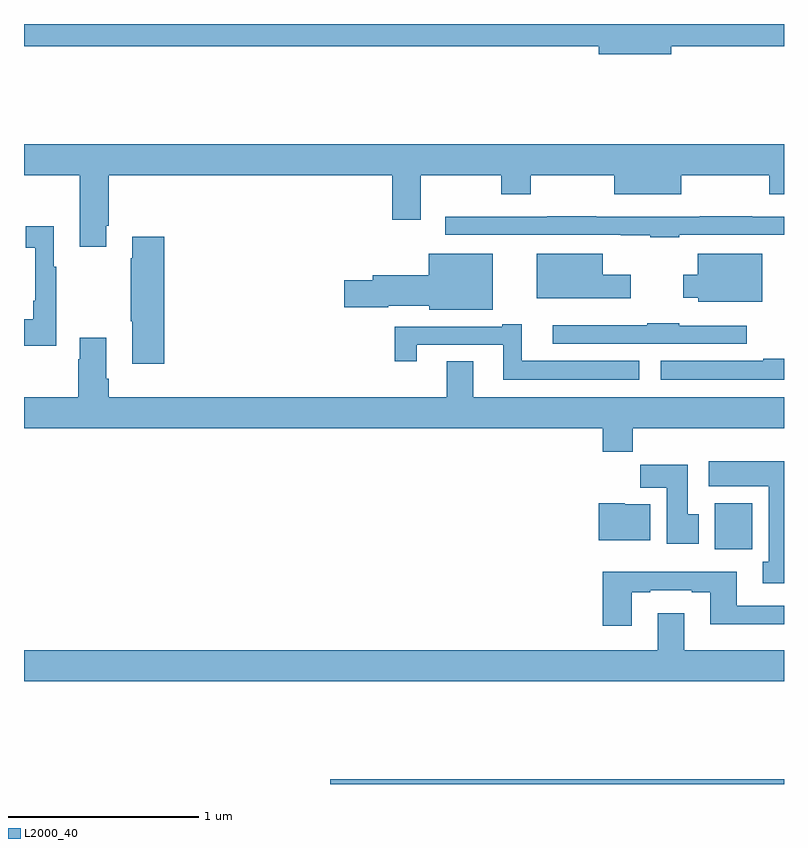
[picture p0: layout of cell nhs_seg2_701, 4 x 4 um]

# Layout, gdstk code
import gdstk
lib = gdstk.Library(unit=1e-6, precision=1e-09)
def R(c, l, rs):  # rectangles x0, y0, x1, y1
    for r in rs: c.add(gdstk.rectangle(r[:2], r[2:], *l))
def P(c, l, *ps):  # polygons
    for p in ps: c.add(gdstk.Polygon(p, *l))
L2000_40 = (2000, 40)

nhs_seg2_701 = lib.new_cell('nhs_seg2_701')
R(nhs_seg2_701, L2000_40, [(148.613,609.8,151,609.824), (150.635,611.036,150.832,611.278)])
P(nhs_seg2_701, L2000_40, [(150.406,613.684),(151,613.684),(151,613.8),(147,613.8),(147,613.684),(150.026,613.684),(150.026,613.642),(150.406,613.642)],
  [(147.433,612.739),(147.446,612.739),(147.446,613.004),(148.937,613.004),(148.937,612.771),(149.089,612.771),(149.089,613.004),(149.512,613.004),(149.512,612.905),(149.667,612.905),(149.667,613.004),(150.107,613.004),(150.107,612.905),(150.46,612.905),(150.46,613.004),(150.922,613.004),(150.922,612.905),(151,612.905),(151,613.168),(147,613.168),(147,613.004),(147.293,613.004),(147.293,612.627),(147.433,612.627)],
  [(150.449,612.69),(151,612.69),(151,612.786),(150.833,612.786),(150.833,612.788),(150.556,612.788),(150.556,612.786),(150.011,612.786),(150.011,612.788),(149.755,612.788),(149.755,612.786),(149.217,612.786),(149.217,612.69),(150.142,612.69),(150.142,612.689),(150.296,612.689),(150.296,612.678),(150.449,612.678)],
  [(147.169,612.523),(147.157,612.523),(147.157,612.736),(147.009,612.736),(147.009,612.623),(147.06,612.623),(147.06,612.343),(147.048,612.343),(147.048,612.247),(147,612.247),(147,612.107),(147.169,612.107)],
  [(147.737,612.679),(147.569,612.679),(147.569,612.566),(147.562,612.566),(147.562,612.235),(147.569,612.235),(147.569,612.012),(147.737,612.012)],
  [(150.886,612.592),(150.545,612.592),(150.545,612.481),(150.47,612.481),(150.47,612.359),(150.549,612.359),(150.549,612.338),(150.886,612.338)],
  [(150.193,612.481),(150.046,612.481),(150.046,612.592),(149.699,612.592),(149.699,612.356),(150.193,612.356)],
  [(149.467,612.592),(149.129,612.592),(149.129,612.477),(148.835,612.477),(148.835,612.452),(148.686,612.452),(148.686,612.31),(148.916,612.31),(148.916,612.317),(149.133,612.317),(149.133,612.296),(149.467,612.296)],
  [(150.805,612.213),(150.449,612.213),(150.449,612.226),(150.28,612.226),(150.28,612.214),(149.784,612.214),(149.784,612.117),(150.805,612.117)],
  [(150.238,612.028),(149.62,612.028),(149.62,612.22),(149.516,612.22),(149.516,612.207),(148.951,612.207),(148.951,612.024),(149.068,612.024),(149.068,612.111),(149.522,612.111),(149.522,611.927),(150.238,611.927)],
  [(150.203,611.672),(151,611.672),(151,611.836),(149.365,611.836),(149.365,612.026),(149.225,612.026),(149.225,611.836),(147.446,611.836),(147.446,611.932),(147.433,611.932),(147.433,612.148),(147.293,612.148),(147.293,612.035),(147.286,612.035),(147.286,611.836),(147,611.836),(147,611.672),(150.047,611.672),(150.047,611.548),(150.203,611.548)],
  [(151,612.038),(150.892,612.038),(150.892,612.028),(150.351,612.028),(150.351,611.927),(151,611.927)],
  [(151,611.5),(150.603,611.5),(150.603,611.366),(150.92,611.366),(150.92,610.97),(150.887,610.97),(150.887,610.857),(151,610.857)],
  [(150.55,611.22),(150.493,611.22),(150.493,611.479),(150.244,611.479),(150.244,611.36),(150.383,611.36),(150.383,611.064),(150.55,611.064)],
  [(150.295,611.272),(150.162,611.272),(150.162,611.278),(150.026,611.278),(150.026,611.084),(150.295,611.084)],
  [(150.199,610.809),(150.295,610.809),(150.295,610.821),(150.515,610.821),(150.515,610.809),(150.611,610.809),(150.611,610.64),(151,610.64),(151,610.737),(150.751,610.737),(150.751,610.918),(150.047,610.918),(150.047,610.632),(150.199,610.632)],
  [(151,610.504),(150.475,610.504),(150.475,610.699),(150.335,610.699),(150.335,610.504),(147,610.504),(147,610.34),(151,610.34)])

lib.write_gds('nhs_seg2_701.gds')
